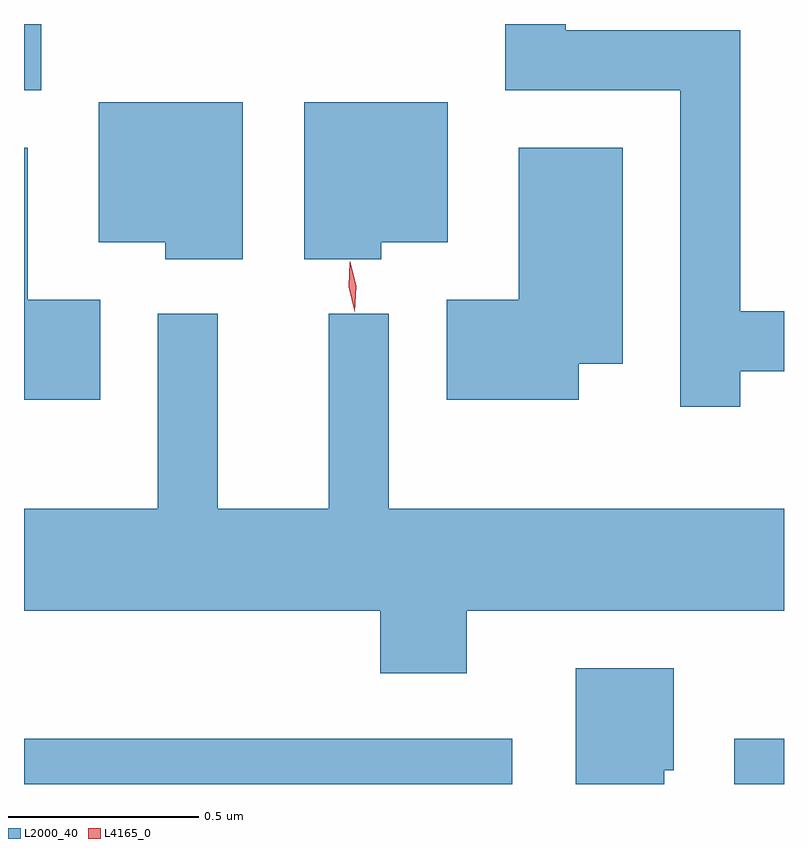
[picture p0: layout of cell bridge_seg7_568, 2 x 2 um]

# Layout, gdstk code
import gdstk
lib = gdstk.Library(unit=1e-6, precision=1e-09)
def R(c, l, rs):  # rectangles x0, y0, x1, y1
    for r in rs: c.add(gdstk.rectangle(r[:2], r[2:], *l))
def P(c, l, *ps):  # polygons
    for p in ps: c.add(gdstk.Polygon(p, *l))
L2000_40 = (2000, 40)
L4165_0 = (4165, 0)

bridge_seg7_568 = lib.new_cell('bridge_seg7_568')
R(bridge_seg7_568, L2000_40, [(963.434,1773.8,964.719,1773.919), (965.303,1773.8,965.434,1773.919), (963.434,1775.626,963.479,1775.8)])
P(bridge_seg7_568, L2000_40, [(965.319,1774.886),(965.434,1774.886),(965.434,1775.044),(965.319,1775.044),(965.319,1775.784),(964.859,1775.784),(964.859,1775.8),(964.701,1775.8),(964.701,1775.626),(965.161,1775.626),(965.161,1774.793),(965.319,1774.793)],
  [(964.009,1775.594),(963.631,1775.594),(963.631,1775.226),(963.806,1775.226),(963.806,1775.181),(964.009,1775.181)],
  [(964.374,1775.226),(964.549,1775.226),(964.549,1775.594),(964.171,1775.594),(964.171,1775.181),(964.374,1775.181)],
  [(964.894,1774.906),(965.009,1774.906),(965.009,1775.474),(964.736,1775.474),(964.736,1775.074),(964.546,1775.074),(964.546,1774.811),(964.894,1774.811)],
  [(963.634,1775.074),(963.444,1775.074),(963.444,1775.474),(963.434,1775.474),(963.434,1774.811),(963.634,1774.811)],
  [(964.599,1774.256),(965.434,1774.256),(965.434,1774.524),(964.394,1774.524),(964.394,1775.038),(964.236,1775.038),(964.236,1774.524),(963.944,1774.524),(963.944,1775.038),(963.786,1775.038),(963.786,1774.524),(963.434,1774.524),(963.434,1774.256),(964.371,1774.256),(964.371,1774.091),(964.599,1774.091)],
  [(965.119,1773.836),(965.144,1773.836),(965.144,1774.104),(964.886,1774.104),(964.886,1773.8),(965.119,1773.8)])
P(bridge_seg7_568, L4165_0, [(964.304,1775.042),(964.304,1775.043),(964.288,1775.108),(964.291,1775.175),(964.291,1775.175),(964.292,1775.175),(964.308,1775.11),(964.305,1775.043)])

lib.write_gds('bridge_seg7_568.gds')
